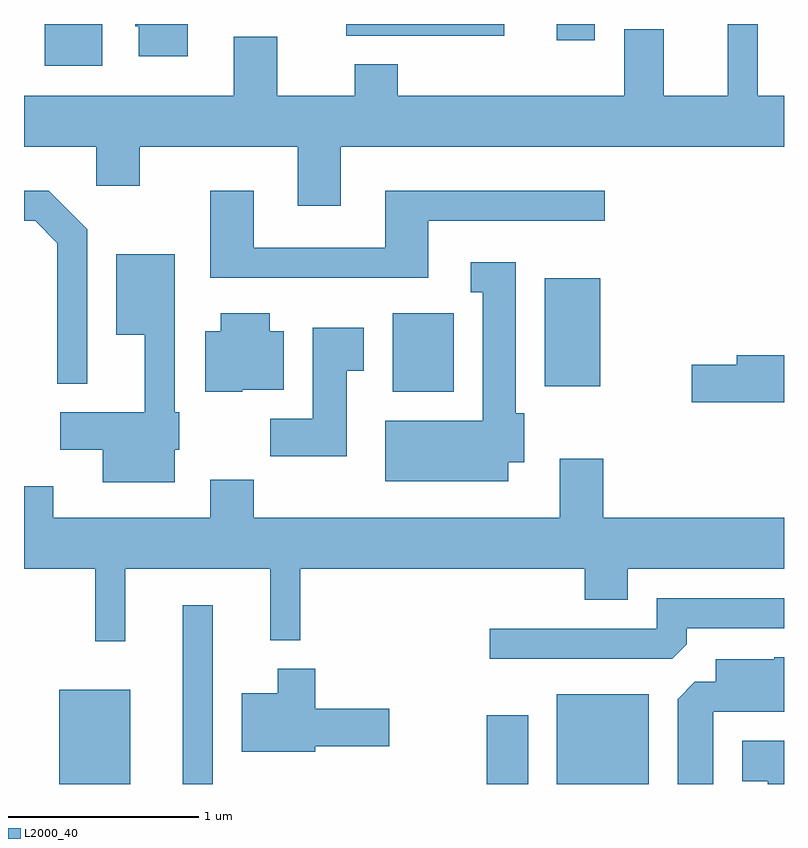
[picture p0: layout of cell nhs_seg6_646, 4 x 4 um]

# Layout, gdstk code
import gdstk
lib = gdstk.Library(unit=1e-6, precision=1e-09)
def R(c, l, rs):  # rectangles x0, y0, x1, y1
    for r in rs: c.add(gdstk.rectangle(r[:2], r[2:], *l))
def P(c, l, *ps):  # polygons
    for p in ps: c.add(gdstk.Polygon(p, *l))
L2000_40 = (2000, 40)

nhs_seg6_646 = lib.new_cell('nhs_seg6_646')
R(nhs_seg6_646, L2000_40, [(203.796,1622.162,204.169,1622.659), (204.446,1622.162,204.604,1623.103), (206.046,1622.162,206.264,1622.524), (206.416,1622.162,206.899,1622.634), (205.551,1624.226,205.874,1624.639), (206.351,1624.256,206.644,1624.824), (203.721,1625.941,204.024,1626.162), (206.416,1626.076,206.614,1626.162), (205.306,1626.101,206.138,1626.162)])
P(nhs_seg6_646, L2000_40, [(205.279,1625.516),(207.611,1625.516),(207.611,1625.784),(207.474,1625.784),(207.474,1626.162),(207.316,1626.162),(207.316,1625.784),(206.979,1625.784),(206.979,1626.134),(206.771,1626.134),(206.771,1625.784),(205.579,1625.784),(205.579,1625.949),(205.351,1625.949),(205.351,1625.784),(204.944,1625.784),(204.944,1626.094),(204.716,1626.094),(204.716,1625.784),(203.611,1625.784),(203.611,1625.516),(203.991,1625.516),(203.991,1625.311),(204.219,1625.311),(204.219,1625.516),(205.051,1625.516),(205.051,1625.206),(205.279,1625.206)],
  [(204.474,1626.162),(204.196,1626.162),(204.196,1626.151),(204.216,1626.151),(204.216,1625.991),(204.474,1625.991)],
  [(203.944,1625.082),(203.742,1625.284),(203.611,1625.284),(203.611,1625.126),(203.669,1625.126),(203.786,1625.009),(203.786,1624.268),(203.944,1624.268)],
  [(205.739,1625.126),(206.668,1625.126),(206.668,1625.284),(205.511,1625.284),(205.511,1624.984),(204.819,1624.984),(204.819,1625.284),(204.591,1625.284),(204.591,1624.826),(205.739,1624.826)],
  [(204.404,1623.921),(204.429,1623.921),(204.429,1624.119),(204.404,1624.119),(204.404,1624.949),(204.096,1624.949),(204.096,1624.526),(204.246,1624.526),(204.246,1624.119),(203.801,1624.119),(203.801,1623.921),(204.026,1623.921),(204.026,1623.751),(204.404,1623.751)],
  [(206.159,1623.856),(206.244,1623.856),(206.244,1624.114),(206.199,1624.114),(206.199,1624.909),(205.963,1624.909),(205.963,1624.751),(206.026,1624.751),(206.026,1624.074),(205.511,1624.074),(205.511,1623.756),(206.159,1623.756)],
  [(204.76,1624.236),(204.979,1624.236),(204.979,1624.544),(204.904,1624.544),(204.904,1624.639),(204.646,1624.639),(204.646,1624.544),(204.566,1624.544),(204.566,1624.226),(204.76,1624.226)],
  [(205.309,1624.336),(205.399,1624.336),(205.399,1624.564),(205.131,1624.564),(205.131,1624.084),(204.906,1624.084),(204.906,1623.886),(205.309,1623.886)],
  [(207.611,1624.419),(207.361,1624.419),(207.361,1624.369),(207.126,1624.369),(207.126,1624.171),(207.611,1624.171)],
  [(204.144,1623.296),(204.906,1623.296),(204.906,1622.918),(205.064,1622.918),(205.064,1623.296),(206.561,1623.296),(206.561,1623.131),(206.789,1623.131),(206.789,1623.296),(207.611,1623.296),(207.611,1623.564),(206.659,1623.564),(206.659,1623.874),(206.431,1623.874),(206.431,1623.564),(204.819,1623.564),(204.819,1623.764),(204.591,1623.764),(204.591,1623.564),(203.764,1623.564),(203.764,1623.729),(203.611,1623.729),(203.611,1623.296),(203.986,1623.296),(203.986,1622.913),(204.144,1622.913)],
  [(207.099,1622.897),(207.099,1622.981),(207.611,1622.981),(207.611,1623.139),(206.941,1623.139),(206.941,1622.979),(206.063,1622.979),(206.063,1622.821),(207.024,1622.821)],
  [(207.239,1622.541),(207.611,1622.541),(207.611,1622.829),(207.56,1622.829),(207.56,1622.819),(207.251,1622.819),(207.251,1622.699),(207.142,1622.699),(207.051,1622.609),(207.051,1622.162),(207.239,1622.162)],
  [(205.144,1622.361),(205.534,1622.361),(205.534,1622.559),(205.144,1622.559),(205.144,1622.769),(204.946,1622.769),(204.946,1622.639),(204.756,1622.639),(204.756,1622.331),(205.144,1622.331)],
  [(207.611,1622.389),(207.391,1622.389),(207.391,1622.176),(207.526,1622.176),(207.526,1622.162),(207.611,1622.162)])

lib.write_gds('nhs_seg6_646.gds')
